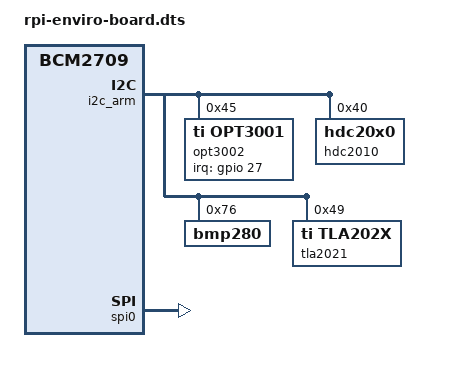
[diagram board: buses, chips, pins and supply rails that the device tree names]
/*
 * rpi-enviro-board.dts
 * Device Tree Overlay to support Coral Environmental Sensor Board
 *
 * Copyright (C) 2019 Google LLC
 *
 * This program is free software; you can redistribute it and/or modify
 * it under the terms of the GNU General Public License as published by
 * the Free Software Foundation; either version 2 of the License, or
 * (at your option) any later version.
 *
 * This program is distributed in the hope that it will be useful,
 * but WITHOUT ANY WARRANTY; without even the implied warranty of
 * MERCHANTABILITY or FITNESS FOR A PARTICULAR PURPOSE. See the
 * GNU General Public License for more details.
 *
 */

/dts-v1/;
/plugin/;

/ {
	compatible = "brcm,bcm2835", "brcm,bcm2708", "brcm,bcm2709";

	fragment@0 {
		target = <&i2c_arm>;
		__overlay__ {
			#address-cells = <1>;
			#size-cells = <0>;
			status = "okay";

			opt3002@44 {
				compatible = "ti,opt3001";
				reg = <0x45>; /* address */
				interrupt-parent = <&gpio>;
				interrupts = <27 2>; /* IRQ_TYPE_EDGE_FALLING */
				#gpio-cells = <2>;
			};

			hdc2010@40 {
				compatible = "hdc20x0";
				reg = <0x40>; /* address */
			};

			bmp280@76 {
				compatible = "bmp280";
				reg = <0x76>; /* address */
			};

			tla2021@49 {
				compatible = "ti,tla202x";
				reg = <0x49>; /* address */
				#address-cells = <1>;
				#size-cells = <0>;

				channel@0 {
					reg = <0>;
					ti,gain = <0>; /* +/- 6.144 V range */
				};
			};
		};
	};

	fragment@1 {
		target = <&spi0>;
		__overlay__ {
			status = "okay";
		};
	};
};

